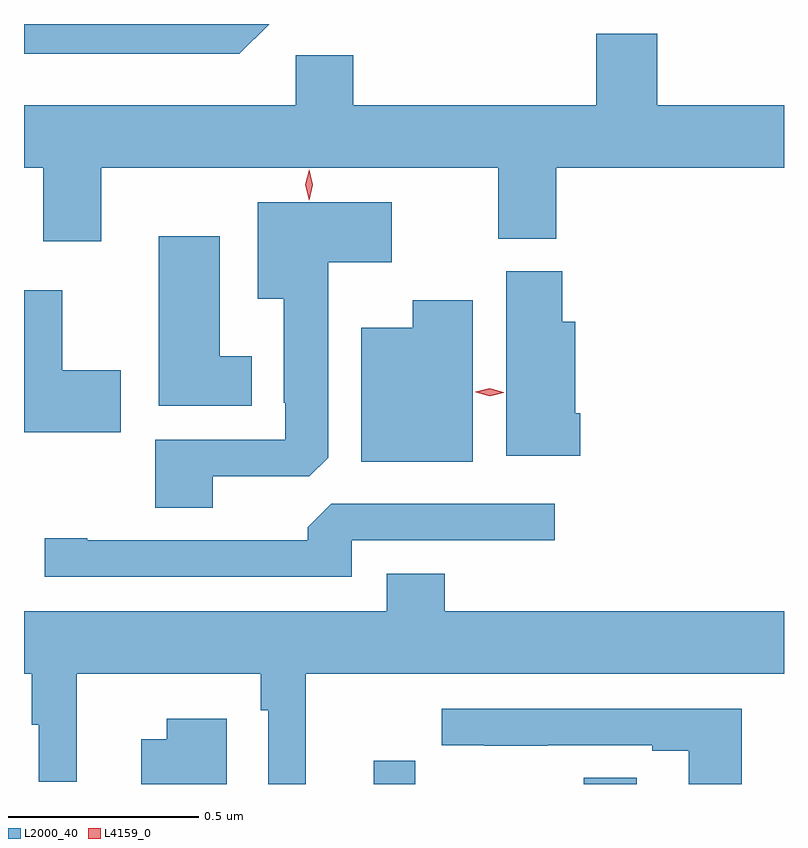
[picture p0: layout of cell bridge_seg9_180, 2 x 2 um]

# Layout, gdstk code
import gdstk
lib = gdstk.Library(unit=1e-6, precision=1e-09)
def R(c, l, rs):  # rectangles x0, y0, x1, y1
    for r in rs: c.add(gdstk.rectangle(r[:2], r[2:], *l))
def P(c, l, *ps):  # polygons
    for p in ps: c.add(gdstk.Polygon(p, *l))
L2000_40 = (2000, 40)
L4159_0 = (4159, 0)

bridge_seg9_180 = lib.new_cell('bridge_seg9_180')
R(bridge_seg9_180, L2000_40, [(150.128,1242.75,150.236,1242.811), (150.68,1242.75,150.819,1242.767)])
P(bridge_seg9_180, L2000_40, [(149.852,1244.75),(149.207,1244.75),(149.207,1244.672),(149.774,1244.672)],
  [(149.41,1244.372),(150.455,1244.372),(150.455,1244.185),(150.608,1244.185),(150.608,1244.372),(151.207,1244.372),(151.207,1244.536),(150.873,1244.536),(150.873,1244.724),(150.713,1244.724),(150.713,1244.536),(150.074,1244.536),(150.074,1244.668),(149.922,1244.668),(149.922,1244.536),(149.207,1244.536),(149.207,1244.372),(149.258,1244.372),(149.258,1244.178),(149.41,1244.178)],
  [(149.704,1243.56),(149.958,1243.56),(150.007,1243.609),(150.007,1244.123),(150.175,1244.123),(150.175,1244.281),(149.822,1244.281),(149.822,1244.027),(149.891,1244.027),(149.891,1243.753),(149.895,1243.753),(149.895,1243.656),(149.552,1243.656),(149.552,1243.477),(149.704,1243.477)],
  [(149.806,1243.876),(149.722,1243.876),(149.722,1244.191),(149.561,1244.191),(149.561,1243.745),(149.806,1243.745)],
  [(150.671,1243.726),(150.658,1243.726),(150.658,1243.966),(150.623,1243.966),(150.623,1244.1),(150.476,1244.1),(150.476,1243.614),(150.671,1243.614)],
  [(149.461,1243.839),(149.308,1243.839),(149.308,1244.05),(149.207,1244.05),(149.207,1243.676),(149.461,1243.676)],
  [(150.388,1244.023),(150.23,1244.023),(150.23,1243.951),(150.095,1243.951),(150.095,1243.598),(150.388,1243.598)],
  [(150.069,1243.392),(150.604,1243.392),(150.604,1243.488),(150.015,1243.488),(149.954,1243.426),(149.954,1243.392),(149.374,1243.392),(149.374,1243.397),(149.262,1243.397),(149.262,1243.296),(150.069,1243.296)],
  [(149.948,1243.04),(151.207,1243.04),(151.207,1243.204),(150.314,1243.204),(150.314,1243.303),(150.161,1243.303),(150.161,1243.204),(149.207,1243.204),(149.207,1243.04),(149.227,1243.04),(149.227,1242.906),(149.246,1242.906),(149.246,1242.756),(149.346,1242.756),(149.346,1243.04),(149.83,1243.04),(149.83,1242.944),(149.85,1242.944),(149.85,1242.75),(149.948,1242.75)],
  [(151.096,1242.948),(150.306,1242.948),(150.306,1242.852),(150.418,1242.852),(150.418,1242.851),(150.584,1242.851),(150.584,1242.852),(150.86,1242.852),(150.86,1242.837),(150.956,1242.837),(150.956,1242.75),(151.096,1242.75)],
  [(149.74,1242.922),(149.582,1242.922),(149.582,1242.868),(149.516,1242.868),(149.516,1242.75),(149.74,1242.75)])
P(bridge_seg9_180, L4159_0, [(150.432,1243.771),(150.396,1243.781),(150.395,1243.782),(150.396,1243.782),(150.433,1243.791),(150.47,1243.781),(150.47,1243.78),(150.47,1243.78)],
  [(149.957,1244.286),(149.957,1244.286),(149.947,1244.327),(149.957,1244.367),(149.957,1244.367),(149.957,1244.367),(149.967,1244.327),(149.958,1244.286)])

lib.write_gds('bridge_seg9_180.gds')
